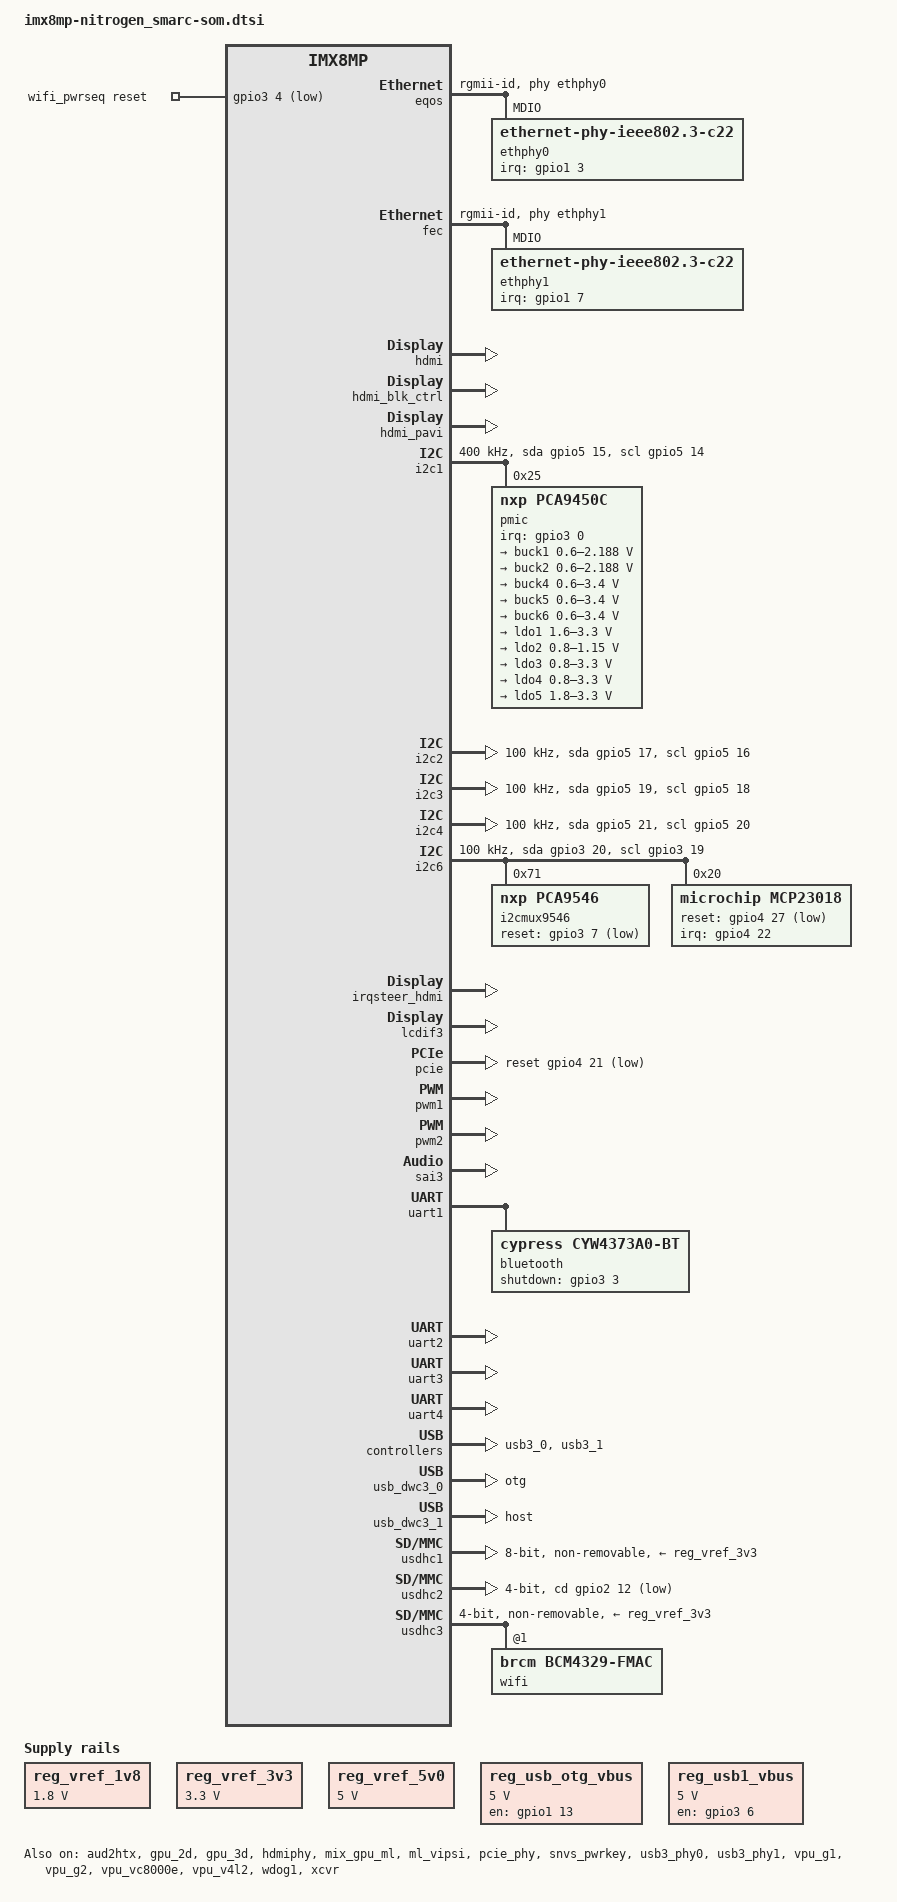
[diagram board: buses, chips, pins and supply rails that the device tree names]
// SPDX-License-Identifier: (GPL-2.0+ OR MIT)
/*
 * Copyright 2023 Boundary Devices
 */

/dts-v1/;

#include <dt-bindings/phy/phy-imx8-pcie.h>
#include <dt-bindings/usb/pd.h>
#include "imx8mp.dtsi"

/ {
	reg_vref_1v8: regulator-vref-1v8 {
		compatible = "regulator-fixed";
		regulator-name = "vref-1v8";
		regulator-min-microvolt = <1800000>;
		regulator-max-microvolt = <1800000>;
	};

	reg_vref_3v3: regulator-vref-3v3 {
		compatible = "regulator-fixed";
		regulator-name = "vref-3v3";
		regulator-min-microvolt = <3300000>;
		regulator-max-microvolt = <3300000>;
	};

	reg_vref_5v0: regulator-vref-5v0 {
		compatible = "regulator-fixed";
		regulator-name = "vref-5v0";
		regulator-min-microvolt = <5000000>;
		regulator-max-microvolt = <5000000>;
	};

	reg_usb_otg_vbus: regulator-usb-otg-vbus {
		compatible = "regulator-fixed";
		pinctrl-names = "default";
		pinctrl-0 = <&pinctrl_reg_usbotg_vbus>;
		regulator-name = "usb_otg_vbus";
		regulator-min-microvolt = <5000000>;
		regulator-max-microvolt = <5000000>;
		gpio = <&gpio1 13 GPIO_ACTIVE_HIGH>;
		enable-active-high;
	};

	reg_usb1_vbus: regulator-usb1-vbus {
		compatible = "regulator-fixed";
		pinctrl-names = "default";
		pinctrl-0 = <&pinctrl_reg_usb1_vbus>;
		regulator-name = "usb_host_vbus";
		regulator-min-microvolt = <5000000>;
		regulator-max-microvolt = <5000000>;
		gpio = <&gpio3 6 GPIO_ACTIVE_HIGH>;
		enable-active-high;
	};

	reserved-memory {
		linux,cma {
			size = <0 0x20000000>;
		};
	};

	sound_hdmi: sound-hdmi {
		compatible = "fsl,imx-audio-hdmi";
		model = "audio-hdmi";
		audio-cpu = <&aud2htx>;
		hdmi-out;
		constraint-rate = <44100>,
				<88200>,
				<176400>,
				<32000>,
				<48000>,
				<96000>,
				<192000>;
		status = "okay";
	};

	sound-xcvr {
		compatible = "fsl,imx-audio-xcvr";
		model = "imx-audio-xcvr";
		cpu-dai = <&xcvr>;
	};

	wifi_pwrseq: wifi-pwrseq {
		compatible = "mmc-pwrseq-simple";
		assigned-clocks = <&clk IMX8MP_CLK_CLKOUT1_SEL>, <&clk IMX8MP_CLK_CLKOUT1>;
		assigned-clock-parents = <&clk IMX8MP_CLK_32K>;
		assigned-clock-rates = <0>, <32768>;
		clocks = <&clk IMX8MP_CLK_CLKOUT1>;
		clock-names = "ext_clock";
		pinctrl-names = "default";
		pinctrl-0 = <&pinctrl_wifi_pwrseq>;
		reset-gpios = <&gpio3 4 GPIO_ACTIVE_LOW>;
		post-power-on-delay-ms = <100>;
		status = "okay";
	};
};

&A53_0 {
	cpu-supply = <&buck2>;
};

&A53_1 {
	cpu-supply = <&buck2>;
};

&A53_2 {
	cpu-supply = <&buck2>;
};

&A53_3 {
	cpu-supply = <&buck2>;
};

&aud2htx {
	status = "okay";
};

&clk {
	init-on-array = <IMX8MP_CLK_HSIO_ROOT>;
};

&ecspi1 {
	#address-cells = <1>;
	#size-cells = <0>;
	pinctrl-names = "default";
	pinctrl-0 = <&pinctrl_ecspi1>;
	cs-gpios = <&gpio5 9 GPIO_ACTIVE_LOW>,
		<&gpio1 1 GPIO_ACTIVE_LOW>;
};

&ecspi2 {
	#address-cells = <1>;
	#size-cells = <0>;
	pinctrl-names = "default";
	pinctrl-0 = <&pinctrl_ecspi2>;
	cs-gpios = <&gpio5 13 GPIO_ACTIVE_LOW>,
		<&gpio4 20 GPIO_ACTIVE_LOW>;
};

&eqos {
	pinctrl-names = "default";
	pinctrl-0 = <&pinctrl_eqos>;
	phy-mode = "rgmii-id";
	phy-handle = <&ethphy0>;
	status = "okay";

	mdio {
		compatible = "snps,dwmac-mdio";
		#address-cells = <1>;
		#size-cells = <0>;

		ethphy0: ethernet-phy {
			compatible = "ethernet-phy-ieee802.3-c22";
			at803x,hib-disabled;
			eee-broken-1000t;
			interrupts-extended = <&gpio1 3 IRQ_TYPE_LEVEL_LOW>;
#if 0
			reset-gpios = <&gpio3 16 GPIO_ACTIVE_LOW>;
#endif
			reg-mask = <0x90>;
		};
	};
};

&fec {
	pinctrl-names = "default";
	pinctrl-0 = <&pinctrl_fec>;
#if 0
	phy-reset-gpios = <&gpio1 12 GPIO_ACTIVE_LOW>;
#endif
	phy-mode = "rgmii-id";
	phy-handle = <&ethphy1>;
	fsl,magic-packet;
	status = "okay";

	mdio {
		#address-cells = <1>;
		#size-cells = <0>;

		ethphy1: ethernet-phy {
			compatible = "ethernet-phy-ieee802.3-c22";
			eee-broken-1000t;
			interrupts-extended = <&gpio1 7 IRQ_TYPE_LEVEL_LOW>;
			reg-mask = <0x90>;
		};
	};
};

&flexcan1 {
	pinctrl-names = "default";
	pinctrl-0 = <&pinctrl_flexcan1>;
};

&flexcan2 {
	pinctrl-names = "default";
	pinctrl-0 = <&pinctrl_flexcan2>;
};

&gpu_2d {
	status = "okay";
};

&gpu_3d {
	status = "okay";
};

&hdmi {
	pinctrl-names = "default";
	pinctrl-0 = <&pinctrl_hdmi>;
	status = "okay";
};

&hdmiphy {
	status = "okay";
};

&hdmi_blk_ctrl {
	status = "okay";
};

&hdmi_pavi {
	status = "okay";
};

&i2c1 {
	clock-frequency = <400000>;
	pinctrl-names = "default", "gpio";
	pinctrl-0 = <&pinctrl_i2c1>;
	pinctrl-1 = <&pinctrl_i2c1_1>;
	scl-gpios = <&gpio5 14 GPIO_OPEN_DRAIN>;
	sda-gpios = <&gpio5 15 GPIO_OPEN_DRAIN>;
	status = "okay";

	pmic: pca9450@25 {
		/* PMIC PCA9450  */
		compatible = "nxp,pca9450c";
		interrupts-extended = <&gpio3 0 IRQ_TYPE_LEVEL_LOW>;
		pinctrl-0 = <&pinctrl_pmic>;
		reg = <0x25>;

		regulators {
			buck1: BUCK1 {
				regulator-name = "BUCK1";
				regulator-min-microvolt = <600000>;
				regulator-max-microvolt = <2187500>;
				regulator-boot-on;
				regulator-always-on;
				regulator-ramp-delay = <3125>;
			};

			buck2: BUCK2 {
				regulator-name = "BUCK2";
				regulator-min-microvolt = <600000>;
				regulator-max-microvolt = <2187500>;
				regulator-limit-microvolt = <1025000>;
				regulator-boot-on;
				regulator-always-on;
				regulator-ramp-delay = <3125>;
				nxp,dvs-run-voltage = <950000>;
				nxp,dvs-standby-voltage = <850000>;
			};

			buck4: BUCK4 {
				regulator-name = "BUCK4";
				regulator-min-microvolt = <600000>;
				regulator-max-microvolt = <3400000>;
				regulator-boot-on;
				regulator-always-on;
			};

			buck5: BUCK5 {
				regulator-name = "BUCK5";
				regulator-min-microvolt = <600000>;
				regulator-max-microvolt = <3400000>;
				regulator-boot-on;
				regulator-always-on;
			};

			buck6: BUCK6 {
				regulator-name = "BUCK6";
				regulator-min-microvolt = <600000>;
				regulator-max-microvolt = <3400000>;
				regulator-boot-on;
				regulator-always-on;
			};

			ldo1: LDO1 {
				regulator-name = "LDO1";
				regulator-min-microvolt = <1600000>;
				regulator-max-microvolt = <3300000>;
				regulator-boot-on;
				regulator-always-on;
			};

			ldo2: LDO2 {
				regulator-name = "LDO2";
				regulator-min-microvolt = <800000>;
				regulator-max-microvolt = <1150000>;
				regulator-boot-on;
				regulator-always-on;
			};

			ldo3: LDO3 {
				regulator-name = "LDO3";
				regulator-min-microvolt = <800000>;
				regulator-max-microvolt = <3300000>;
				regulator-boot-on;
				regulator-always-on;
			};

			ldo4: LDO4 {
				regulator-name = "LDO4";
				regulator-min-microvolt = <800000>;
				regulator-max-microvolt = <3300000>;
				regulator-boot-on;
				regulator-always-on;
			};

			ldo5: LDO5 {
				regulator-name = "LDO5";
				regulator-min-microvolt = <1800000>;
				regulator-max-microvolt = <3300000>;
				regulator-boot-on;
				regulator-always-on;
			};
		};
	};
};

/* I2C_GP */
&i2c2 {
	clock-frequency = <100000>;
	pinctrl-names = "default", "gpio";
	pinctrl-0 = <&pinctrl_i2c2>;
	pinctrl-1 = <&pinctrl_i2c2_1>;
	scl-gpios = <&gpio5 16 GPIO_OPEN_DRAIN>;
	sda-gpios = <&gpio5 17 GPIO_OPEN_DRAIN>;
	status = "okay";
};

/* I2C_LCD */
&i2c3 {
	clock-frequency = <100000>;
	pinctrl-names = "default", "gpio";
	pinctrl-0 = <&pinctrl_i2c3>;
	pinctrl-1 = <&pinctrl_i2c3_1>;
	scl-gpios = <&gpio5 18 GPIO_OPEN_DRAIN>;
	sda-gpios = <&gpio5 19 GPIO_OPEN_DRAIN>;
	status = "okay";
};

/* I2C_PM */
&i2c4 {
	clock-frequency = <100000>;
	pinctrl-names = "default", "gpio";
	pinctrl-0 = <&pinctrl_i2c4>;
	pinctrl-1 = <&pinctrl_i2c4_1>;
	scl-gpios = <&gpio5 20 GPIO_OPEN_DRAIN>;
	sda-gpios = <&gpio5 21 GPIO_OPEN_DRAIN>;
	status = "okay";
};

&i2c6 {
	clock-frequency = <100000>;
	pinctrl-names = "default", "gpio";
	pinctrl-0 = <&pinctrl_i2c6>;
	pinctrl-1 = <&pinctrl_i2c6_1>;
	scl-gpios = <&gpio3 19 GPIO_OPEN_DRAIN>;
	sda-gpios = <&gpio3 20 GPIO_OPEN_DRAIN>;
	status = "okay";

	i2cmux9546@71 {
		pinctrl-names = "default";
		pinctrl-0 = <&pinctrl_i2c6_pca9546>;
		compatible = "nxp,pca9546";
		reg = <0x71>;
		reset-gpios = <&gpio3 7 GPIO_ACTIVE_LOW>;
		#address-cells = <1>;
		#size-cells = <0>;

		i2c6a: i2c6@0 {
			/* I2C_CAM0 */
			clock-frequency = <100000>;
			reg = <0>;
			#address-cells = <1>;
			#size-cells = <0>;
		};

		i2c6b: i2c6@1 {
			/* I2C_CAM1 */
			clock-frequency = <100000>;
			reg = <1>;
			#address-cells = <1>;
			#size-cells = <0>;
		};
	};

	mcp23018: gpio@20 {
		compatible = "microchip,mcp23018";
		gpio-controller;
		#gpio-cells = <0x2>;
		interrupts-extended = <&gpio4 22 IRQ_TYPE_LEVEL_LOW>;
		interrupt-controller;
		#interrupt-cells = <0x2>;
		microchip,irq-mirror;
		pinctrl-names = "default";
		pinctrl-0 = <&pinctrl_i2c6_mcp23018>, <&mcp_pullups>;
		reg = <0x20>;
		reset-gpios = <&gpio4 27 GPIO_ACTIVE_LOW>;

		mcp_pullups: pinmux {
			pins =  "gpio0", "gpio2", "gpio3",
				"gpio5", "gpio6", "gpio7",
				"gpio8", "gpio9", "gpio10", "gpio11",
				"gpio12", "gpio13", "gpio14", "gpio15";
			bias-pull-up;
		};
	};
};

&iomuxc {
	pinctrl_ecspi1: ecspi1grp {
		fsl,pins = <
			MX8MP_IOMUXC_ECSPI1_SCLK__ECSPI1_SCLK		0x82
			MX8MP_IOMUXC_ECSPI1_MOSI__ECSPI1_MOSI		0x82
			MX8MP_IOMUXC_ECSPI1_MISO__ECSPI1_MISO		0x82
			MX8MP_IOMUXC_ECSPI1_SS0__GPIO5_IO09		0x143
			MX8MP_IOMUXC_GPIO1_IO01__GPIO1_IO01		0x143
		>;
	};

	pinctrl_ecspi2: ecspi2grp {
		fsl,pins = <
			MX8MP_IOMUXC_ECSPI2_SCLK__ECSPI2_SCLK		0x82
			MX8MP_IOMUXC_ECSPI2_MOSI__ECSPI2_MOSI		0x82
			MX8MP_IOMUXC_ECSPI2_MISO__ECSPI2_MISO		0x82
			MX8MP_IOMUXC_ECSPI2_SS0__GPIO5_IO13		0x143
			MX8MP_IOMUXC_SAI1_MCLK__GPIO4_IO20		0x143
		>;
	};

	pinctrl_eqos: eqosgrp {
		fsl,pins = <
			MX8MP_IOMUXC_ENET_MDC__ENET_QOS_MDC		0x0
			MX8MP_IOMUXC_ENET_MDIO__ENET_QOS_MDIO		0xa0
			MX8MP_IOMUXC_ENET_TX_CTL__ENET_QOS_RGMII_TX_CTL	0x1f
			MX8MP_IOMUXC_ENET_TXC__CCM_ENET_QOS_CLOCK_GENERATE_TX_CLK	0x1f
			MX8MP_IOMUXC_ENET_TD0__ENET_QOS_RGMII_TD0	0x1f
			MX8MP_IOMUXC_ENET_TD1__ENET_QOS_RGMII_TD1	0x1f
			MX8MP_IOMUXC_ENET_TD2__ENET_QOS_RGMII_TD2	0x1f
			MX8MP_IOMUXC_ENET_TD3__ENET_QOS_RGMII_TD3	0x1f

			MX8MP_IOMUXC_ENET_RX_CTL__ENET_QOS_RGMII_RX_CTL	0x91
			MX8MP_IOMUXC_ENET_RXC__CCM_ENET_QOS_CLOCK_GENERATE_RX_CLK	0x91
			MX8MP_IOMUXC_ENET_RD0__ENET_QOS_RGMII_RD0	0x91
			MX8MP_IOMUXC_ENET_RD1__ENET_QOS_RGMII_RD1	0x91
			MX8MP_IOMUXC_ENET_RD2__ENET_QOS_RGMII_RD2	0x91
			MX8MP_IOMUXC_ENET_RD3__ENET_QOS_RGMII_RD3	0x91
			MX8MP_IOMUXC_NAND_READY_B__GPIO3_IO16		0x100
			MX8MP_IOMUXC_GPIO1_IO03__GPIO1_IO03		0x140
		>;
	};

	pinctrl_fec: fecgrp {
		fsl,pins = <
			MX8MP_IOMUXC_SAI1_RXD2__ENET1_MDC		0x0
			MX8MP_IOMUXC_SAI1_RXD3__ENET1_MDIO		0xa0
			MX8MP_IOMUXC_SAI1_TXD4__ENET1_RGMII_TX_CTL	0x1f
			MX8MP_IOMUXC_SAI1_TXD5__ENET1_RGMII_TXC		0x1f
			MX8MP_IOMUXC_SAI1_TXD0__ENET1_RGMII_TD0		0x1f
			MX8MP_IOMUXC_SAI1_TXD1__ENET1_RGMII_TD1		0x1f
			MX8MP_IOMUXC_SAI1_TXD2__ENET1_RGMII_TD2		0x1f
			MX8MP_IOMUXC_SAI1_TXD3__ENET1_RGMII_TD3		0x1f

			MX8MP_IOMUXC_SAI1_TXFS__ENET1_RGMII_RX_CTL	0x91
			MX8MP_IOMUXC_SAI1_TXC__ENET1_RGMII_RXC		0x91
			MX8MP_IOMUXC_SAI1_RXD4__ENET1_RGMII_RD0		0x91
			MX8MP_IOMUXC_SAI1_RXD5__ENET1_RGMII_RD1		0x91
			MX8MP_IOMUXC_SAI1_RXD6__ENET1_RGMII_RD2		0x91
			MX8MP_IOMUXC_SAI1_RXD7__ENET1_RGMII_RD3		0x91
			MX8MP_IOMUXC_GPIO1_IO12__GPIO1_IO12		0x100
			MX8MP_IOMUXC_GPIO1_IO07__GPIO1_IO07		0x1c0
		>;
	};

	pinctrl_flexcan1: flexcan1grp {
		fsl,pins = <
			MX8MP_IOMUXC_SAI5_RXD2__CAN1_RX			0x154
			MX8MP_IOMUXC_SAI5_RXD1__CAN1_TX			0x154
		>;
	};

	pinctrl_flexcan2: flexcan2grp {
		fsl,pins = <
			MX8MP_IOMUXC_SAI5_MCLK__CAN2_RX			0x154
			MX8MP_IOMUXC_SAI5_RXD3__CAN2_TX			0x154
		>;
	};

	pinctrl_hdmi: hdmigrp {
		fsl,pins = <
			MX8MP_IOMUXC_HDMI_DDC_SCL__HDMIMIX_HDMI_SCL	0x400001c3
			MX8MP_IOMUXC_HDMI_DDC_SDA__HDMIMIX_HDMI_SDA	0x400001c3
			MX8MP_IOMUXC_HDMI_HPD__HDMIMIX_HDMI_HPD		0x40000019
			MX8MP_IOMUXC_HDMI_CEC__HDMIMIX_HDMI_CEC		0x40000019
		>;
	};

	pinctrl_i2c1: i2c1grp {
		fsl,pins = <
			MX8MP_IOMUXC_I2C1_SCL__I2C1_SCL		0x400001c3
			MX8MP_IOMUXC_I2C1_SDA__I2C1_SDA		0x400001c3
		>;
	};

	pinctrl_i2c1_1: i2c1-1grp {
		fsl,pins = <
			MX8MP_IOMUXC_I2C1_SCL__GPIO5_IO14	0x1c3
			MX8MP_IOMUXC_I2C1_SDA__GPIO5_IO15	0x1c3
		>;
	};

	pinctrl_i2c2: i2c2grp {
		fsl,pins = <
			MX8MP_IOMUXC_I2C2_SCL__I2C2_SCL		0x400001c3
			MX8MP_IOMUXC_I2C2_SDA__I2C2_SDA		0x400001c3
		>;
	};

	pinctrl_i2c2_1: i2c2-1grp {
		fsl,pins = <
			MX8MP_IOMUXC_I2C2_SCL__GPIO5_IO16       0x1c3
			MX8MP_IOMUXC_I2C2_SDA__GPIO5_IO17       0x1c3
		>;
	};

	pinctrl_i2c3: i2c3grp {
		fsl,pins = <
			MX8MP_IOMUXC_I2C3_SCL__I2C3_SCL		0x400001c3
			MX8MP_IOMUXC_I2C3_SDA__I2C3_SDA		0x400001c3
		>;
	};

	pinctrl_i2c3_1: i2c3-1grp {
		fsl,pins = <
			MX8MP_IOMUXC_I2C3_SCL__GPIO5_IO18       0x1c3
			MX8MP_IOMUXC_I2C3_SDA__GPIO5_IO19       0x1c3
		>;
	};

	pinctrl_i2c4: i2c4grp {
		fsl,pins = <
			MX8MP_IOMUXC_I2C4_SCL__I2C4_SCL		0x400001c3
			MX8MP_IOMUXC_I2C4_SDA__I2C4_SDA		0x400001c3
		>;
	};

	pinctrl_i2c4_1: i2c4-1grp {
		fsl,pins = <
			MX8MP_IOMUXC_I2C4_SCL__GPIO5_IO20       0x1c3
			MX8MP_IOMUXC_I2C4_SDA__GPIO5_IO21       0x1c3
		>;
	};

	pinctrl_i2c6: i2c6grp {
		fsl,pins = <
			MX8MP_IOMUXC_SAI5_RXFS__I2C6_SCL	0x400001c3
			MX8MP_IOMUXC_SAI5_RXC__I2C6_SDA		0x400001c3
		>;
	};

	pinctrl_i2c6_1: i2c6-1grp {
		fsl,pins = <
			MX8MP_IOMUXC_SAI5_RXFS__GPIO3_IO19	0x1c3
			MX8MP_IOMUXC_SAI5_RXC__GPIO3_IO20	0x1c3
		>;
	};

	pinctrl_i2c6_pca9546: i2c6-pca9546grp {
		fsl,pins = <
			MX8MP_IOMUXC_NAND_DATA01__GPIO3_IO07	0x100
		>;
	};

	pinctrl_i2c6_mcp23018: i2c6-mcp23018grp {
		fsl,pins = <
			MX8MP_IOMUXC_SAI2_RXC__GPIO4_IO22	0x1c0
			MX8MP_IOMUXC_SAI2_MCLK__GPIO4_IO27	0x100
		>;
	};

	pinctrl_pcie: pciegrp {
		fsl,pins = <
			MX8MP_IOMUXC_SAI1_RXFS__GPIO4_IO00	0x1c0
			MX8MP_IOMUXC_SAI2_RXFS__GPIO4_IO21	0x1c0
			MX8MP_IOMUXC_SAI3_RXFS__GPIO4_IO28	0x1c0
		>;
	};

	pinctrl_pmic: pmicirq {
		fsl,pins = <
			MX8MP_IOMUXC_GPIO1_IO14__GPIO1_IO14	0x1c0
		>;
	};

	pinctrl_pwm1: pwm1grp {
		fsl,pins = <
			MX8MP_IOMUXC_SPDIF_EXT_CLK__PWM1_OUT	0x100
		>;
	};

	pinctrl_pwm2: pwm2grp {
		fsl,pins = <
			MX8MP_IOMUXC_SPDIF_RX__PWM2_OUT		0x100
		>;
	};

	pinctrl_reg_usbotg_vbus: reg-usbotg-vbusgrp {
		fsl,pins = <
			MX8MP_IOMUXC_GPIO1_IO13__GPIO1_IO13	0x100
		>;
	};

	pinctrl_reg_usb1_vbus: reg-usb1_vbusgrp {
		fsl,pins = <
			MX8MP_IOMUXC_NAND_DATA00__GPIO3_IO06	0x100
		>;
	};

	pinctrl_sai3: sai3grp {
		fsl,pins = <
			MX8MP_IOMUXC_SAI3_TXFS__AUDIOMIX_SAI3_TX_SYNC	0xd6
			MX8MP_IOMUXC_SAI3_TXC__AUDIOMIX_SAI3_TX_BCLK	0xd6
			MX8MP_IOMUXC_SAI3_RXD__AUDIOMIX_SAI3_RX_DATA00	0xd6
			MX8MP_IOMUXC_SAI3_TXD__AUDIOMIX_SAI3_TX_DATA00	0xd6
			MX8MP_IOMUXC_SAI3_MCLK__AUDIOMIX_SAI3_MCLK	0xd6
		>;
	};

	pinctrl_uart1: uart1grp {
		fsl,pins = <
			MX8MP_IOMUXC_UART1_RXD__UART1_DCE_RX	0x140
			MX8MP_IOMUXC_UART1_TXD__UART1_DCE_TX	0x140
			MX8MP_IOMUXC_UART3_RXD__UART1_DCE_CTS	0x140
			MX8MP_IOMUXC_UART3_TXD__UART1_DCE_RTS	0x140
			MX8MP_IOMUXC_NAND_CE2_B__GPIO3_IO03	0x100
		>;
	};

	pinctrl_uart2: uart2grp {
		fsl,pins = <
			MX8MP_IOMUXC_UART2_RXD__UART2_DCE_RX	0x140
			MX8MP_IOMUXC_UART2_TXD__UART2_DCE_TX	0x140
		>;
	};

	pinctrl_uart3: uart3grp {
		fsl,pins = <
			MX8MP_IOMUXC_NAND_CE0_B__UART3_DCE_TX	0x140
			MX8MP_IOMUXC_NAND_ALE__UART3_DCE_RX	0x140
		>;
	};

	pinctrl_uart4: uart4grp {
		fsl,pins = <
			MX8MP_IOMUXC_UART4_RXD__UART4_DCE_RX	0x140
			MX8MP_IOMUXC_UART4_TXD__UART4_DCE_TX	0x140
			MX8MP_IOMUXC_NAND_DATA02__UART4_DCE_CTS	0x140
			MX8MP_IOMUXC_NAND_DATA03__UART4_DCE_RTS	0x140
		>;
	};

	pinctrl_usdhc1: usdhc1grp {
		fsl,pins = <
			MX8MP_IOMUXC_SD1_CLK__USDHC1_CLK	0x10
			MX8MP_IOMUXC_SD1_CMD__USDHC1_CMD	0x150
			MX8MP_IOMUXC_SD1_DATA0__USDHC1_DATA0	0x150
			MX8MP_IOMUXC_SD1_DATA1__USDHC1_DATA1	0x150
			MX8MP_IOMUXC_SD1_DATA2__USDHC1_DATA2	0x150
			MX8MP_IOMUXC_SD1_DATA3__USDHC1_DATA3	0x150
			MX8MP_IOMUXC_SD1_DATA4__USDHC1_DATA4	0x150
			MX8MP_IOMUXC_SD1_DATA5__USDHC1_DATA5	0x150
			MX8MP_IOMUXC_SD1_DATA6__USDHC1_DATA6	0x150
			MX8MP_IOMUXC_SD1_DATA7__USDHC1_DATA7	0x150
			MX8MP_IOMUXC_SD1_STROBE__USDHC1_STROBE	0x10
			MX8MP_IOMUXC_SD1_RESET_B__USDHC1_RESET_B 0x140
		>;
	};

	pinctrl_usdhc1_100mhz: usdhc1-100mhzgrp {
		fsl,pins = <
			MX8MP_IOMUXC_SD1_CLK__USDHC1_CLK	0x14
			MX8MP_IOMUXC_SD1_CMD__USDHC1_CMD	0x154
			MX8MP_IOMUXC_SD1_DATA0__USDHC1_DATA0	0x154
			MX8MP_IOMUXC_SD1_DATA1__USDHC1_DATA1	0x154
			MX8MP_IOMUXC_SD1_DATA2__USDHC1_DATA2	0x154
			MX8MP_IOMUXC_SD1_DATA3__USDHC1_DATA3	0x154
			MX8MP_IOMUXC_SD1_DATA4__USDHC1_DATA4	0x154
			MX8MP_IOMUXC_SD1_DATA5__USDHC1_DATA5	0x154
			MX8MP_IOMUXC_SD1_DATA6__USDHC1_DATA6	0x154
			MX8MP_IOMUXC_SD1_DATA7__USDHC1_DATA7	0x154
			MX8MP_IOMUXC_SD1_STROBE__USDHC1_STROBE	0x14
		>;
	};

	pinctrl_usdhc1_200mhz: usdhc1-200mhzgrp {
		fsl,pins = <
			MX8MP_IOMUXC_SD1_CLK__USDHC1_CLK	0x12
			MX8MP_IOMUXC_SD1_CMD__USDHC1_CMD	0x152
			MX8MP_IOMUXC_SD1_DATA0__USDHC1_DATA0	0x152
			MX8MP_IOMUXC_SD1_DATA1__USDHC1_DATA1	0x152
			MX8MP_IOMUXC_SD1_DATA2__USDHC1_DATA2	0x152
			MX8MP_IOMUXC_SD1_DATA3__USDHC1_DATA3	0x152
			MX8MP_IOMUXC_SD1_DATA4__USDHC1_DATA4	0x152
			MX8MP_IOMUXC_SD1_DATA5__USDHC1_DATA5	0x152
			MX8MP_IOMUXC_SD1_DATA6__USDHC1_DATA6	0x152
			MX8MP_IOMUXC_SD1_DATA7__USDHC1_DATA7	0x152
			MX8MP_IOMUXC_SD1_STROBE__USDHC1_STROBE	0x12
		>;
	};

	pinctrl_usdhc2: usdhc2grp {
		fsl,pins = <
			MX8MP_IOMUXC_SD2_CLK__USDHC2_CLK	0x190
			MX8MP_IOMUXC_SD2_CMD__USDHC2_CMD	0x1d0
			MX8MP_IOMUXC_SD2_DATA0__USDHC2_DATA0	0x1d0
			MX8MP_IOMUXC_SD2_DATA1__USDHC2_DATA1	0x1d0
			MX8MP_IOMUXC_SD2_DATA2__USDHC2_DATA2	0x1d0
			MX8MP_IOMUXC_SD2_DATA3__USDHC2_DATA3	0x1d0
			MX8MP_IOMUXC_SD2_CD_B__GPIO2_IO12	0x1c0
			MX8MP_IOMUXC_SD2_RESET_B__GPIO2_IO19	0x100
		>;
	};

	pinctrl_usdhc2_state_100mhz: usdhc2-state-100mhzgrp {
		fsl,pins = <
			MX8MP_IOMUXC_SD2_CLK__USDHC2_CLK	0x194
			MX8MP_IOMUXC_SD2_CMD__USDHC2_CMD	0x1d4
			MX8MP_IOMUXC_SD2_DATA0__USDHC2_DATA0	0x1d4
			MX8MP_IOMUXC_SD2_DATA1__USDHC2_DATA1	0x1d4
			MX8MP_IOMUXC_SD2_DATA2__USDHC2_DATA2	0x1d4
			MX8MP_IOMUXC_SD2_DATA3__USDHC2_DATA3	0x1d4
		>;
	};

	pinctrl_usdhc2_state_200mhz: usdhc2-state-200mhzgrp {
		fsl,pins = <
			MX8MP_IOMUXC_SD2_CLK__USDHC2_CLK	0x196
			MX8MP_IOMUXC_SD2_CMD__USDHC2_CMD	0x1d6
			MX8MP_IOMUXC_SD2_DATA0__USDHC2_DATA0	0x1d6
			MX8MP_IOMUXC_SD2_DATA1__USDHC2_DATA1	0x1d6
			MX8MP_IOMUXC_SD2_DATA2__USDHC2_DATA2	0x1d6
			MX8MP_IOMUXC_SD2_DATA3__USDHC2_DATA3	0x1d6
		>;
	};

	pinctrl_usdhc3: usdhc3grp {
		fsl,pins = <
			MX8MP_IOMUXC_NAND_WE_B__USDHC3_CLK	0x10
			MX8MP_IOMUXC_NAND_WP_B__USDHC3_CMD	0x150
			MX8MP_IOMUXC_NAND_DATA04__USDHC3_DATA0	0x150
			MX8MP_IOMUXC_NAND_DATA05__USDHC3_DATA1	0x150
			MX8MP_IOMUXC_NAND_DATA06__USDHC3_DATA2	0x150
			MX8MP_IOMUXC_NAND_DATA07__USDHC3_DATA3	0x150
			MX8MP_IOMUXC_NAND_DQS__GPIO3_IO14	0x1c0
			MX8MP_IOMUXC_SAI5_RXD0__GPIO3_IO21	0x1c0
		>;
	};

	pinctrl_usdhc3_100mhz: usdhc3-100mhzgrp {
		fsl,pins = <
			MX8MP_IOMUXC_NAND_WE_B__USDHC3_CLK	0x14
			MX8MP_IOMUXC_NAND_WP_B__USDHC3_CMD	0x154
			MX8MP_IOMUXC_NAND_DATA04__USDHC3_DATA0	0x154
			MX8MP_IOMUXC_NAND_DATA05__USDHC3_DATA1	0x154
			MX8MP_IOMUXC_NAND_DATA06__USDHC3_DATA2	0x154
			MX8MP_IOMUXC_NAND_DATA07__USDHC3_DATA3	0x154
		>;
	};

	pinctrl_usdhc3_200mhz: usdhc3-200mhzgrp {
		fsl,pins = <
			MX8MP_IOMUXC_NAND_WE_B__USDHC3_CLK	0x12
			MX8MP_IOMUXC_NAND_WP_B__USDHC3_CMD	0x152
			MX8MP_IOMUXC_NAND_DATA04__USDHC3_DATA0	0x152
			MX8MP_IOMUXC_NAND_DATA05__USDHC3_DATA1	0x152
			MX8MP_IOMUXC_NAND_DATA06__USDHC3_DATA2	0x152
			MX8MP_IOMUXC_NAND_DATA07__USDHC3_DATA3	0x152
		>;
	};

	pinctrl_wdog: wdoggrp {
		fsl,pins = <
			MX8MP_IOMUXC_GPIO1_IO02__WDOG1_WDOG_B	0x140
		>;
	};

	pinctrl_wifi_pwrseq: wifi-pwrseqgrp {
		fsl,pins = <
			MX8MP_IOMUXC_NAND_CE3_B__GPIO3_IO04	0x100
		>;
	};
};

&irqsteer_hdmi {
	status = "okay";
};

&lcdif3 {
	status = "okay";
};

&mix_gpu_ml {
	status = "okay";
};

&ml_vipsi {
	status = "okay";
};

&pcie {
	assigned-clocks = <&clk IMX8MP_CLK_PCIE_AUX>;
	assigned-clock-parents = <&clk IMX8MP_SYS_PLL2_50M>;
	assigned-clock-rates = <10000000>;
	clocks = <&clk IMX8MP_CLK_HSIO_ROOT>,
		 <&clk IMX8MP_CLK_PCIE_ROOT>,
		 <&clk IMX8MP_CLK_HSIO_AXI>;
	clock-names = "pcie", "pcie_aux", "pcie_bus";
	pinctrl-names = "default";
	pinctrl-0 = <&pinctrl_pcie>;
	reset-gpio = <&gpio4 21 GPIO_ACTIVE_LOW>;
	status = "okay";
};

&pcie_phy {
	clocks = <&hsio_blk_ctrl>;
	clock-names = "ref";
	fsl,clkreq-unsupported;
	fsl,refclk-pad-mode = <IMX8_PCIE_REFCLK_PAD_OUTPUT>;
	status = "okay";
};

&pwm1 {
	pinctrl-names = "default";
	pinctrl-0 = <&pinctrl_pwm1>;
	status = "okay";
};

&pwm2 {
	pinctrl-names = "default";
	pinctrl-0 = <&pinctrl_pwm2>;
	status = "okay";
};

&sai3 {
	pinctrl-names = "default";
	pinctrl-0 = <&pinctrl_sai3>;
	fsl,sai-mclk-direction-output;
	status = "okay";
};

&sdma2 {
	status = "okay";
};

&snvs_pwrkey {
	status = "okay";
};

&uart1 { /* BT */
	pinctrl-names = "default";
	pinctrl-0 = <&pinctrl_uart1>;
	assigned-clocks = <&clk IMX8MP_CLK_UART1>;
	assigned-clock-parents = <&clk IMX8MP_SYS_PLL1_80M>;
	uart-has-rtscts;
	status = "okay";

	bluetooth {
		compatible = "cypress,cyw4373a0-bt";
		shutdown-gpios = <&gpio3 3 GPIO_ACTIVE_HIGH>;
		max-speed = <3000000>;
	};
};

/* SER1 */
&uart2 {
	pinctrl-names = "default";
	pinctrl-0 = <&pinctrl_uart2>;
	status = "okay";
};

/* SER2 */
&uart3 {
	assigned-clocks = <&clk IMX8MP_CLK_UART3>;
	assigned-clock-parents = <&clk IMX8MP_SYS_PLL1_80M>;
	pinctrl-names = "default";
	pinctrl-0 = <&pinctrl_uart3>;
	status = "okay";
};

/* SER0 */
&uart4 {
	assigned-clocks = <&clk IMX8MP_CLK_UART4>;
	assigned-clock-parents = <&clk IMX8MP_SYS_PLL1_80M>;
	pinctrl-names = "default";
	pinctrl-0 = <&pinctrl_uart4>;
	uart-has-rtscts;
	status = "okay";
};

&usb3_0 {
	disable-over-current;
	status = "okay";
};

&usb3_1 {
	status = "okay";
};

&usb_dwc3_0 {
	dr_mode = "otg";
	status = "okay";
};

&usb_dwc3_1 {
	dr_mode = "host";
	status = "okay";
};

&usb3_phy0 {
	fsl,phy-tx-preemp-amp-tune = <2>;
	status = "okay";
	vbus-supply = <&reg_usb_otg_vbus>;
};

&usb3_phy1 {
	fsl,phy-tx-preemp-amp-tune = <2>;
	status = "okay";
	vbus-supply = <&reg_usb1_vbus>;
};

&usdhc1 {
	bus-width = <8>;
	mmc-hs400-1_8v;
	mmc-hs400-enhanced-strobe;
	no-sd;
	no-sdio;
	non-removable;
	pinctrl-names = "default", "state_100mhz", "state_200mhz";
	pinctrl-0 = <&pinctrl_usdhc1>;
	pinctrl-1 = <&pinctrl_usdhc1_100mhz>;
	pinctrl-2 = <&pinctrl_usdhc1_200mhz>;
	vmmc-supply = <&reg_vref_3v3>;
	vqmmc-1-8-v;
	vqmmc-supply = <&reg_vref_1v8>;
	status = "okay";
};

&usdhc2 {
	bus-width = <4>;
	cd-gpios = <&gpio2 12 GPIO_ACTIVE_LOW>;
	pinctrl-names = "default", "state_100mhz", "state_200mhz";
	pinctrl-0 = <&pinctrl_usdhc2>;
	pinctrl-1 = <&pinctrl_usdhc2_state_100mhz>;
	pinctrl-2 = <&pinctrl_usdhc2_state_200mhz>;
	status = "okay";
};

&usdhc3 {
	#address-cells = <1>;
	#size-cells = <0>;
	bus-width = <4>;
	fsl,sdio-async-interrupt-enabled;
	keep-power-in-suspend;
	mmc-pwrseq = <&wifi_pwrseq>;
	non-removable;
	pinctrl-names = "default", "state_100mhz", "state_200mhz";
	pinctrl-0 = <&pinctrl_usdhc3>;
	pinctrl-1 = <&pinctrl_usdhc3_100mhz>;
	pinctrl-2 = <&pinctrl_usdhc3_200mhz>;
	pm-ignore-notify;
	vmmc-supply = <&reg_vref_3v3>;
	vqmmc-1-8-v;
	vqmmc-supply = <&reg_vref_1v8>;
	status = "okay";

	wifi@1 {
		reg = <1>;
		compatible = "brcm,bcm4329-fmac";
		laird,regdomain = "US";
	};
};

&vpu_g1 {
	status = "okay";
};

&vpu_g2 {
	status = "okay";
};

&vpu_vc8000e {
	status = "okay";
};

&vpu_v4l2 {
	status = "okay";
};

&wdog1 {
	pinctrl-names = "default";
	pinctrl-0 = <&pinctrl_wdog>;
	fsl,ext-reset-output;
	status = "okay";
};

&xcvr {
	#sound-dai-cells = <0>;
	status = "okay";
};
